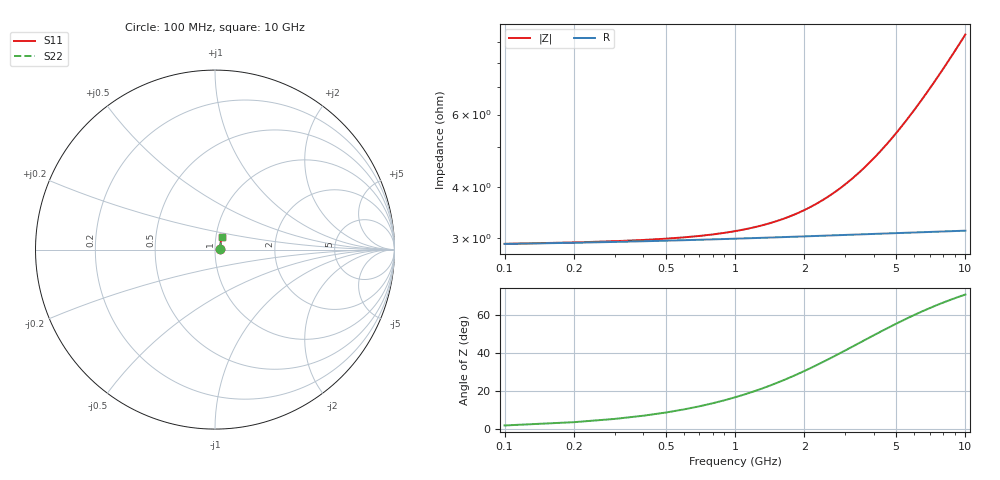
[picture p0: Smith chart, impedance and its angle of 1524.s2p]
# Hz S RI R 50.00
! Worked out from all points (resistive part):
!   100 points, 100 MHz to 10 GHz, reference 50 ohm
!   read as one part in series: R = 2.9 ohm at 100 MHz
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1e8  0.0282 0.000726  0.9718 -0.000951  0.9718 -0.000951  0.0282 0.000726
2e8  0.0284 0.00145  0.9716 -0.0019  0.9716 -0.0019  0.0284 0.00145
7e8  0.0289 0.00507  0.9711 -0.00665  0.9711 -0.00665  0.0289 0.00507
1e9  0.0291 0.00724  0.9709 -0.00949  0.9709 -0.00949  0.0291 0.00724
1.2e9  0.0292 0.00869  0.9708 -0.0114  0.9708 -0.0114  0.0292 0.00869
1.4e9  0.0293 0.0101  0.9707 -0.0133  0.9707 -0.0133  0.0293 0.0101
1.8e9  0.0296 0.013  0.9704 -0.0171  0.9704 -0.0171  0.0296 0.013
2.1e9  0.0297 0.0152  0.9703 -0.0199  0.9703 -0.0199  0.0297 0.0152
2.5e9  0.0299 0.0181  0.97 -0.0237  0.97 -0.0237  0.0299 0.0181
2.9e9  0.0302 0.021  0.9698 -0.0275  0.9698 -0.0275  0.0302 0.021
3.4e9  0.0305 0.0246  0.9695 -0.0322  0.9695 -0.0322  0.0305 0.0246
4.4e9  0.0312 0.0318  0.9687 -0.0417  0.9687 -0.0417  0.0312 0.0318
5.1e9  0.0318 0.0368  0.9682 -0.0483  0.9682 -0.0483  0.0318 0.0368
5.9e9  0.0325 0.0425  0.9674 -0.0558  0.9674 -0.0558  0.0325 0.0425
6.3e9  0.0329 0.0454  0.967 -0.0596  0.967 -0.0596  0.0329 0.0454
6.7e9  0.0333 0.0482  0.9666 -0.0633  0.9666 -0.0633  0.0333 0.0482
7.1e9  0.0337 0.0511  0.9662 -0.0671  0.9662 -0.0671  0.0337 0.0511
7.5e9  0.0341 0.0539  0.9657 -0.0708  0.9657 -0.0708  0.0341 0.0539
7.9e9  0.0346 0.0568  0.9652 -0.0746  0.9652 -0.0746  0.0346 0.0568
8.4e9  0.0352 0.0603  0.9646 -0.0793  0.9646 -0.0793  0.0352 0.0603
9.2e9  0.0362 0.066  0.9635 -0.0867  0.9635 -0.0867  0.0362 0.066
1e10  0.0374 0.0717  0.9623 -0.0942  0.9623 -0.0942  0.0374 0.0717
